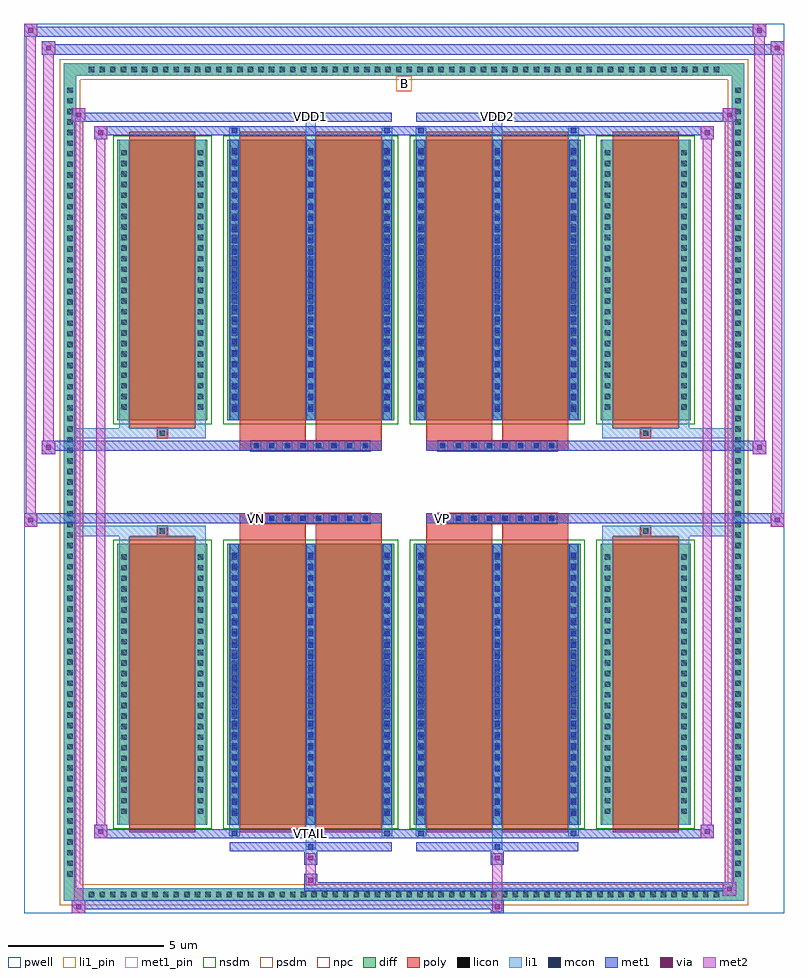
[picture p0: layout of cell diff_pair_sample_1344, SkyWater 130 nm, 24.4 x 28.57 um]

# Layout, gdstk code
import gdstk
lib = gdstk.Library(unit=1e-6, precision=5e-09)
def R(c, l, rs):  # rectangles x0, y0, x1, y1
    for r in rs: c.add(gdstk.rectangle(r[:2], r[2:], *l))
def A(c, l, x, y, w, h, nx, ny, dx, dy):  # array of equal rectangles
    R(c, l, [(x+i*dx, y+j*dy, x+i*dx+w, y+j*dy+h) for i in range(nx) for j in range(ny)])
def P(c, l, *ps):  # polygons
    for p in ps: c.add(gdstk.Polygon(p, *l))
pwell = (64, 44)
diff = (65, 20)
poly = (66, 20)
licon = (66, 44)
li1_pin = (67, 16)
li1 = (67, 20)
mcon = (67, 44)
met1_pin = (68, 16)
met1 = (68, 20)
via = (68, 44)
met2 = (69, 20)
nsdm = (93, 44)
psdm = (94, 20)
npc = (95, 20)

diff_pair_sample_1344 = lib.new_cell('diff_pair_sample_1344')
R(diff_pair_sample_1344, pwell, [(-12.2,-13.85,12.2,14.72), (-9.52,-12.04,-0.01,-0.8), (0.01,-12.04,9.52,-0.8), (-9.52,0.8,-0.01,12.04), (0.01,0.8,9.52,12.04)])
A(diff_pair_sample_1344, diff, -10.235, -13.45, 0.41, 0.41, 60, 2, 0.34, 26.49)
A(diff_pair_sample_1344, diff, -10.93, -12.785, 0.41, 0.41, 1, 75, 0, 0.34)
A(diff_pair_sample_1344, diff, 10.52, -12.785, 0.41, 0.41, 1, 75, 0, 0.34)
R(diff_pair_sample_1344, diff, [(-10.235,-13.45,10.235,-13.04), (-10.93,-12.785,-10.52,12.785), (10.52,-12.785,10.93,12.785), (-9.21,-10.995,-6.31,-1.985), (-5.67,-10.995,-0.32,-1.985), (0.32,-10.995,5.67,-1.985), (6.31,-10.995,9.21,-1.985), (-9.21,1.985,-6.31,10.995), (-5.67,1.985,-0.32,10.995), (0.32,1.985,5.67,10.995), (6.31,1.985,9.21,10.995), (-10.235,13.04,10.235,13.45)])
P(diff_pair_sample_1344, diff, [(10.93,13.45),(-10.93,13.45),(-10.93,-13.04),(-10.52,-13.04),(-10.52,13.04),(10.52,13.04),(10.52,-13.04),(-10.52,-13.04),(-10.93,-13.04),(-10.93,-13.45),(10.93,-13.45)])
A(diff_pair_sample_1344, poly, -4.91, -1.33, 0.33, 0.33, 8, 2, 0.5, 2.33)
A(diff_pair_sample_1344, poly, 1.08, -1.33, 0.33, 0.33, 8, 2, 0.5, 2.33)
R(diff_pair_sample_1344, poly, [(-8.82,-11.245,-6.7,-1.735), (-5.28,-11.245,-3.16,-1.735), (-2.83,-11.245,-0.71,-1.735), (0.71,-11.245,2.83,-1.735), (3.16,-11.245,5.28,-1.735), (6.7,-11.245,8.82,-1.735), (-7.925,-1.735,-7.595,-1.405), (-7.925,-1.735,-7.595,-1.405), (-5.28,-1.735,-3.16,-1.33), (-2.83,-1.735,-0.71,-1.33), (0.71,-1.735,2.83,-1.33), (3.16,-1.735,5.28,-1.33), (7.595,-1.735,7.925,-1.405), (7.595,-1.735,7.925,-1.405), (-5.28,-1.33,-0.71,-1), (0.71,-1.33,5.28,-1), (-5.28,1,-0.71,1.33), (0.71,1,5.28,1.33), (-5.28,1.33,-3.16,1.735), (-2.83,1.33,-0.71,1.735), (0.71,1.33,2.83,1.735), (3.16,1.33,5.28,1.735), (-7.925,1.405,-7.595,1.735), (-7.925,1.405,-7.595,1.735), (7.595,1.405,7.925,1.735), (7.595,1.405,7.925,1.735), (-8.82,1.735,-6.7,11.245), (-5.28,1.735,-3.16,11.245), (-2.83,1.735,-0.71,11.245), (0.71,1.735,2.83,11.245), (3.16,1.735,5.28,11.245), (6.7,1.735,8.82,11.245)])
A(diff_pair_sample_1344, licon, -10.115, -13.33, 0.17, 0.17, 60, 2, 0.34, 26.49)
A(diff_pair_sample_1344, licon, -10.81, -12.665, 0.17, 0.17, 1, 75, 0, 0.34)
A(diff_pair_sample_1344, licon, 10.64, -12.665, 0.17, 0.17, 1, 75, 0, 0.34)
A(diff_pair_sample_1344, licon, -9.07, -10.655, 0.17, 0.17, 1, 25, 0, 0.34)
A(diff_pair_sample_1344, licon, -6.62, -10.655, 0.17, 0.17, 1, 25, 0, 0.34)
A(diff_pair_sample_1344, licon, -5.53, -10.655, 0.17, 0.17, 3, 25, 2.45, 0.34)
A(diff_pair_sample_1344, licon, 0.46, -10.655, 0.17, 0.17, 3, 25, 2.45, 0.34)
A(diff_pair_sample_1344, licon, 6.45, -10.655, 0.17, 0.17, 1, 25, 0, 0.34)
A(diff_pair_sample_1344, licon, 8.9, -10.655, 0.17, 0.17, 1, 25, 0, 0.34)
A(diff_pair_sample_1344, licon, -4.83, -1.25, 0.17, 0.17, 8, 2, 0.5, 2.33)
A(diff_pair_sample_1344, licon, 1.16, -1.25, 0.17, 0.17, 8, 2, 0.5, 2.33)
A(diff_pair_sample_1344, licon, -9.07, 2.325, 0.17, 0.17, 1, 25, 0, 0.34)
A(diff_pair_sample_1344, licon, -6.62, 2.325, 0.17, 0.17, 1, 25, 0, 0.34)
A(diff_pair_sample_1344, licon, -5.53, 2.325, 0.17, 0.17, 3, 25, 2.45, 0.34)
A(diff_pair_sample_1344, licon, 0.46, 2.325, 0.17, 0.17, 3, 25, 2.45, 0.34)
A(diff_pair_sample_1344, licon, 6.45, 2.325, 0.17, 0.17, 1, 25, 0, 0.34)
A(diff_pair_sample_1344, licon, 8.9, 2.325, 0.17, 0.17, 1, 25, 0, 0.34)
R(diff_pair_sample_1344, licon, [(-7.845,-1.655,-7.675,-1.485), (7.675,-1.655,7.845,-1.485), (-7.845,1.485,-7.675,1.655), (7.675,1.485,7.845,1.655)])
R(diff_pair_sample_1344, li1_pin, [(-0.25,12.54,0.25,13.04)])
A(diff_pair_sample_1344, li1, -10.195, -13.41, 0.33, 0.33, 60, 2, 0.34, 26.49)
A(diff_pair_sample_1344, li1, -10.89, -12.745, 0.33, 0.33, 1, 75, 0, 0.34)
A(diff_pair_sample_1344, li1, 10.56, -12.745, 0.33, 0.33, 1, 75, 0, 0.34)
A(diff_pair_sample_1344, li1, -5.61, -10.995, 0.33, 9.01, 3, 2, 2.45, 12.98)
A(diff_pair_sample_1344, li1, 0.38, -10.995, 0.33, 9.01, 3, 2, 2.45, 12.98)
A(diff_pair_sample_1344, li1, -9.15, -10.735, 0.33, 0.33, 1, 25, 0, 0.34)
A(diff_pair_sample_1344, li1, -6.7, -10.735, 0.33, 0.33, 1, 25, 0, 0.34)
A(diff_pair_sample_1344, li1, -5.61, -10.735, 0.33, 0.33, 3, 25, 2.45, 0.34)
A(diff_pair_sample_1344, li1, 0.38, -10.735, 0.33, 0.33, 3, 25, 2.45, 0.34)
A(diff_pair_sample_1344, li1, 6.37, -10.735, 0.33, 0.33, 1, 25, 0, 0.34)
A(diff_pair_sample_1344, li1, 8.82, -10.735, 0.33, 0.33, 1, 25, 0, 0.34)
A(diff_pair_sample_1344, li1, -5.53, -10.715, 0.17, 0.17, 3, 24, 2.45, 0.36)
A(diff_pair_sample_1344, li1, -5.53, -10.715, 0.17, 8.45, 3, 2, 2.45, 12.98)
A(diff_pair_sample_1344, li1, 0.46, -10.715, 0.17, 0.17, 3, 24, 2.45, 0.36)
A(diff_pair_sample_1344, li1, 0.46, -10.715, 0.17, 8.45, 3, 2, 2.45, 12.98)
A(diff_pair_sample_1344, li1, -4.91, -1.33, 0.33, 0.33, 8, 2, 0.5, 2.33)
A(diff_pair_sample_1344, li1, 1.08, -1.33, 0.33, 0.33, 8, 2, 0.5, 2.33)
A(diff_pair_sample_1344, li1, -9.15, 2.245, 0.33, 0.33, 1, 25, 0, 0.34)
A(diff_pair_sample_1344, li1, -6.7, 2.245, 0.33, 0.33, 1, 25, 0, 0.34)
A(diff_pair_sample_1344, li1, -5.61, 2.245, 0.33, 0.33, 3, 25, 2.45, 0.34)
A(diff_pair_sample_1344, li1, 0.38, 2.245, 0.33, 0.33, 3, 25, 2.45, 0.34)
A(diff_pair_sample_1344, li1, 6.37, 2.245, 0.33, 0.33, 1, 25, 0, 0.34)
A(diff_pair_sample_1344, li1, 8.82, 2.245, 0.33, 0.33, 1, 25, 0, 0.34)
A(diff_pair_sample_1344, li1, -5.53, 2.265, 0.17, 0.17, 3, 24, 2.45, 0.36)
A(diff_pair_sample_1344, li1, 0.46, 2.265, 0.17, 0.17, 3, 24, 2.45, 0.36)
R(diff_pair_sample_1344, li1, [(-10.93,-13.45,-10.52,-13.04), (-10.93,-13.45,-10.52,-13.04), (-10.52,-13.45,10.52,-13.04), (10.52,-13.45,10.93,-13.04), (10.52,-13.45,10.93,-13.04), (-10.93,-13.04,-10.52,13.04), (10.52,-13.04,10.93,13.04), (-3.16,-11.8,-2.83,-10.995), (-3.08,-11.8,-2.91,-11.63), (2.83,-11.8,3.16,-10.995), (2.91,-11.8,3.08,-11.63), (-5.61,-11.37,-5.28,-10.995), (-5.53,-11.37,-5.36,-11.2), (-0.71,-11.37,-0.38,-10.995), (-0.63,-11.37,-0.46,-11.2), (0.38,-11.37,0.71,-10.995), (0.46,-11.37,0.63,-11.2), (5.28,-11.37,5.61,-10.995), (5.36,-11.37,5.53,-11.2), (-9.15,-10.995,-8.82,-1.985), (-6.7,-10.995,-6.37,-1.985), (6.37,-10.995,6.7,-1.985), (8.82,-10.995,9.15,-1.985), (-9.15,-1.985,-8.82,-1.405), (-6.7,-1.985,-6.37,-1.405), (6.37,-1.985,6.7,-1.405), (8.82,-1.985,9.15,-1.405), (-10.93,-1.735,-7.925,-1.405), (-9.15,-1.735,-7.925,-1.405), (-7.925,-1.735,-7.595,-1.405), (-7.595,-1.735,-6.37,-1.405), (6.37,-1.735,7.595,-1.405), (7.595,-1.735,7.925,-1.405), (7.595,-1.735,10.93,-1.405), (7.925,-1.735,9.15,-1.405), (-10.93,1.405,-7.925,1.735), (-9.15,1.405,-7.925,1.735), (-9.15,1.405,-8.82,1.985), (-7.925,1.405,-7.595,1.735), (-7.595,1.405,-6.37,1.735), (-6.7,1.405,-6.37,1.985), (6.37,1.405,7.595,1.735), (6.37,1.405,6.7,1.985), (7.595,1.405,7.925,1.735), (7.595,1.405,10.93,1.735), (7.925,1.405,9.15,1.735), (8.82,1.405,9.15,1.985), (-9.15,1.985,-8.82,10.995), (-6.7,1.985,-6.37,10.995), (6.37,1.985,6.7,10.995), (8.82,1.985,9.15,10.995), (-5.61,10.995,-5.28,11.37), (-3.16,10.995,-2.83,11.8), (-0.71,10.995,-0.38,11.37), (0.38,10.995,0.71,11.37), (2.83,10.995,3.16,11.8), (5.28,10.995,5.61,11.37), (-5.53,11.2,-5.36,11.37), (-0.63,11.2,-0.46,11.37), (0.46,11.2,0.63,11.37), (5.36,11.2,5.53,11.37), (-3.08,11.63,-2.91,11.8), (2.91,11.63,3.08,11.8), (-10.93,13.04,-10.52,13.45), (-10.93,13.04,-10.52,13.45), (-10.52,13.04,10.52,13.45), (10.52,13.04,10.93,13.45), (10.52,13.04,10.93,13.45)])
A(diff_pair_sample_1344, mcon, -5.53, -10.715, 0.17, 0.17, 3, 24, 2.45, 0.36)
A(diff_pair_sample_1344, mcon, 0.46, -10.715, 0.17, 0.17, 3, 24, 2.45, 0.36)
A(diff_pair_sample_1344, mcon, -4.83, -1.25, 0.17, 0.17, 8, 2, 0.5, 2.33)
A(diff_pair_sample_1344, mcon, 1.16, -1.25, 0.17, 0.17, 8, 2, 0.5, 2.33)
A(diff_pair_sample_1344, mcon, -5.53, 2.265, 0.17, 0.17, 3, 24, 2.45, 0.36)
A(diff_pair_sample_1344, mcon, 0.46, 2.265, 0.17, 0.17, 3, 24, 2.45, 0.36)
R(diff_pair_sample_1344, mcon, [(-3.08,-11.8,-2.91,-11.63), (2.91,-11.8,3.08,-11.63), (-5.53,-11.37,-5.36,-11.2), (-0.63,-11.37,-0.46,-11.2), (0.46,-11.37,0.63,-11.2), (5.36,-11.37,5.53,-11.2), (-5.53,11.2,-5.36,11.37), (-0.63,11.2,-0.46,11.37), (0.46,11.2,0.63,11.37), (5.36,11.2,5.53,11.37), (-3.08,11.63,-2.91,11.8), (2.91,11.63,3.08,11.8)])
R(diff_pair_sample_1344, met1_pin, [(-3.13,-11.41,-2.86,-11.14), (-4.88,-1.29,-4.61,-1.02), (1.11,-1.29,1.38,-1.02), (-3.13,11.59,-2.86,11.86), (2.86,11.59,3.13,11.86)])
A(diff_pair_sample_1344, met1, -5.59, -10.995, 0.29, 9.01, 3, 2, 2.45, 12.98)
A(diff_pair_sample_1344, met1, 0.4, -10.995, 0.29, 9.01, 3, 2, 2.45, 12.98)
A(diff_pair_sample_1344, met1, -5.59, -10.775, 0.29, 0.29, 3, 24, 2.45, 0.36)
A(diff_pair_sample_1344, met1, 0.4, -10.775, 0.29, 0.29, 3, 24, 2.45, 0.36)
A(diff_pair_sample_1344, met1, -4.89, -1.31, 0.29, 0.29, 8, 2, 0.5, 2.33)
A(diff_pair_sample_1344, met1, 1.1, -1.31, 0.29, 0.29, 8, 2, 0.5, 2.33)
A(diff_pair_sample_1344, met1, -5.59, 2.205, 0.29, 0.29, 3, 24, 2.45, 0.36)
A(diff_pair_sample_1344, met1, 0.4, 2.205, 0.29, 0.29, 3, 24, 2.45, 0.36)
R(diff_pair_sample_1344, met1, [(-10.66,-13.85,-10.23,-13.42), (2.78,-13.85,3.21,-13.42), (-10.66,-13.71,3.21,-13.42), (10.23,-13.28,10.66,-12.85), (-3.21,-13.14,10.66,-12.85), (-3.21,-13,-2.78,-12.57), (-3.21,-12.29,-2.78,-11.86), (2.78,-12.29,3.21,-11.86), (-5.59,-11.86,-0.4,-11.57), (-3.14,-11.86,-2.85,-11.57), (0.4,-11.86,5.59,-11.57), (2.85,-11.86,3.14,-11.57), (-9.95,-11.43,-9.52,-11), (-9.95,-11.43,-5.59,-11.14), (-5.59,-11.43,-5.3,-11.14), (-5.59,-11.43,-0.4,-11.14), (-0.69,-11.43,-0.4,-11.14), (-0.4,-11.43,0.4,-11.14), (0.4,-11.43,0.69,-11.14), (0.4,-11.43,5.59,-11.14), (5.3,-11.43,5.59,-11.14), (5.59,-11.43,9.95,-11.14), (9.52,-11.43,9.95,-11), (-12.2,-1.43,-11.77,-1), (11.77,-1.43,12.2,-1), (-12.2,-1.33,-0.71,-1), (-5.28,-1.33,-0.71,-1), (0.71,-1.33,5.28,-1), (0.71,-1.33,12.2,-1), (-11.63,0.9,-11.2,1.33), (11.2,0.9,11.63,1.33), (-11.63,1,-5.28,1.33), (-5.28,1,-0.71,1.33), (0.71,1,5.28,1.33), (5.28,1,11.63,1.33), (-9.95,11,-9.52,11.43), (9.52,11,9.95,11.43), (-9.95,11.14,-5.59,11.43), (-5.59,11.14,-5.3,11.43), (-5.59,11.14,-0.4,11.43), (-0.69,11.14,-0.4,11.43), (-0.4,11.14,0.4,11.43), (0.4,11.14,0.69,11.43), (0.4,11.14,5.59,11.43), (5.3,11.14,5.59,11.43), (5.59,11.14,9.95,11.43), (-10.66,11.57,-10.23,12), (-10.66,11.57,-5.59,11.86), (-5.59,11.57,-0.4,11.86), (-3.14,11.57,-2.85,11.86), (0.4,11.57,5.59,11.86), (2.85,11.57,3.14,11.86), (5.59,11.57,10.66,11.86), (10.23,11.57,10.66,12), (-11.63,13.72,-11.2,14.15), (-11.63,13.72,-9.52,14.05), (-9.52,13.72,9.52,14.05), (9.52,13.72,12.2,14.05), (11.77,13.72,12.2,14.15), (-12.2,14.29,-11.77,14.72), (-12.2,14.29,-9.52,14.62), (-9.52,14.29,9.52,14.62), (9.52,14.29,11.63,14.62), (11.2,14.29,11.63,14.72)])
R(diff_pair_sample_1344, via, [(-10.52,-13.71,-10.37,-13.56), (2.92,-13.71,3.07,-13.56), (10.37,-13.14,10.52,-12.99), (-3.07,-12.86,-2.92,-12.71), (-3.07,-12.15,-2.92,-12), (2.92,-12.15,3.07,-12), (-9.81,-11.29,-9.66,-11.14), (9.66,-11.29,9.81,-11.14), (-12.06,-1.29,-11.91,-1.14), (11.91,-1.29,12.06,-1.14), (-11.49,1.04,-11.34,1.19), (11.34,1.04,11.49,1.19), (-9.81,11.14,-9.66,11.29), (9.66,11.14,9.81,11.29), (-10.52,11.71,-10.37,11.86), (10.37,11.71,10.52,11.86), (-11.49,13.86,-11.34,14.01), (11.91,13.86,12.06,14.01), (-12.06,14.43,-11.91,14.58), (11.34,14.43,11.49,14.58)])
R(diff_pair_sample_1344, met2, [(-10.66,-13.85,-10.23,-13.42), (-10.59,-13.85,-10.3,12), (-10.3,-13.85,-10.23,-13.42), (-10.61,-13.8,-10.28,-13.47), (2.83,-13.8,3.16,-13.47), (2.83,-13.47,3.16,-12.24), (10.23,-13.28,10.66,-12.85), (10.3,-13.28,10.59,12), (10.59,-13.28,10.66,-12.85), (10.28,-13.23,10.61,-12.9), (-3.16,-12.95,-2.83,-12.62), (-3.16,-12.62,-2.83,-12.24), (-3.16,-12.24,-2.83,-11.91), (2.83,-12.24,3.16,-11.91), (-9.95,-11.43,-9.52,-11), (-9.88,-11.43,-9.59,11.43), (-9.59,-11.43,-9.52,-11), (9.52,-11.43,9.95,-11), (9.59,-11.43,9.88,11.43), (9.88,-11.43,9.95,-11), (-9.9,-11.38,-9.57,-11.05), (9.57,-11.38,9.9,-11.05), (-12.2,-1.43,-11.77,-1), (-12.15,-1.43,-11.82,14.72), (-11.82,-1.43,-11.77,-1), (11.77,-1.43,12.2,-1), (11.82,-1.43,12.15,14.15), (12.15,-1.43,12.2,-1), (-12.15,-1.38,-11.82,-1.05), (11.82,-1.38,12.15,-1.05), (-11.63,0.9,-11.2,1.33), (-11.58,0.9,-11.25,14.15), (-11.25,0.9,-11.2,1.33), (11.2,0.9,11.63,1.33), (11.25,0.9,11.58,14.72), (11.58,0.9,11.63,1.33), (-11.58,0.95,-11.25,1.28), (11.25,0.95,11.58,1.28), (-9.95,11,-9.52,11.43), (-9.59,11,-9.52,11.43), (9.52,11,9.95,11.43), (9.88,11,9.95,11.43), (-9.9,11.05,-9.57,11.38), (9.57,11.05,9.9,11.38), (-10.66,11.57,-10.23,12), (-10.3,11.57,-10.23,12), (10.23,11.57,10.66,12), (10.59,11.57,10.66,12), (-10.61,11.62,-10.28,11.95), (10.28,11.62,10.61,11.95), (-11.63,13.72,-11.2,14.15), (-11.25,13.72,-11.2,14.15), (11.77,13.72,12.2,14.15), (12.15,13.72,12.2,14.15), (-11.58,13.77,-11.25,14.1), (11.82,13.77,12.15,14.1), (-12.2,14.29,-11.77,14.72), (-11.82,14.29,-11.77,14.72), (11.2,14.29,11.63,14.72), (11.58,14.29,11.63,14.72), (-12.15,14.34,-11.82,14.67), (11.25,14.34,11.58,14.67)])
R(diff_pair_sample_1344, nsdm, [(-9.34,-11.125,-6.18,-1.855), (-5.8,-11.125,-0.19,-1.855), (0.19,-11.125,5.8,-1.855), (6.18,-11.125,9.34,-1.855), (-9.34,1.855,-6.18,11.125), (-5.8,1.855,-0.19,11.125), (0.19,1.855,5.8,11.125), (6.18,1.855,9.34,11.125)])
P(diff_pair_sample_1344, psdm, [(11.06,13.58),(-11.06,13.58),(-11.06,-12.91),(-10.39,-12.91),(-10.39,12.91),(10.39,12.91),(10.39,-12.91),(-10.39,-12.91),(-11.06,-12.91),(-11.06,-13.58),(11.06,-13.58)])
A(diff_pair_sample_1344, npc, -4.93, -1.35, 0.37, 0.37, 8, 2, 0.5, 2.33)
A(diff_pair_sample_1344, npc, 1.06, -1.35, 0.37, 0.37, 8, 2, 0.5, 2.33)
R(diff_pair_sample_1344, npc, [(-7.945,-1.755,-7.575,-1.385), (7.575,-1.755,7.945,-1.385), (-4.93,-1.35,-4.06,-0.98), (-4.93,-1.35,-4.06,-0.98), (-4.43,-1.35,-3.56,-0.98), (-4.43,-1.35,-3.56,-0.98), (-3.93,-1.35,-3.06,-0.98), (-3.93,-1.35,-3.06,-0.98), (-3.43,-1.35,-2.56,-0.98), (-3.43,-1.35,-2.56,-0.98), (-2.93,-1.35,-2.06,-0.98), (-2.93,-1.35,-2.06,-0.98), (-2.43,-1.35,-1.56,-0.98), (-2.43,-1.35,-1.56,-0.98), (-1.93,-1.35,-1.06,-0.98), (-1.93,-1.35,-1.06,-0.98), (1.06,-1.35,1.93,-0.98), (1.06,-1.35,1.93,-0.98), (1.56,-1.35,2.43,-0.98), (1.56,-1.35,2.43,-0.98), (2.06,-1.35,2.93,-0.98), (2.06,-1.35,2.93,-0.98), (2.56,-1.35,3.43,-0.98), (2.56,-1.35,3.43,-0.98), (3.06,-1.35,3.93,-0.98), (3.06,-1.35,3.93,-0.98), (3.56,-1.35,4.43,-0.98), (3.56,-1.35,4.43,-0.98), (4.06,-1.35,4.93,-0.98), (4.06,-1.35,4.93,-0.98), (-4.93,0.98,-4.06,1.35), (-4.93,0.98,-4.06,1.35), (-4.43,0.98,-3.56,1.35), (-4.43,0.98,-3.56,1.35), (-3.93,0.98,-3.06,1.35), (-3.93,0.98,-3.06,1.35), (-3.43,0.98,-2.56,1.35), (-3.43,0.98,-2.56,1.35), (-2.93,0.98,-2.06,1.35), (-2.93,0.98,-2.06,1.35), (-2.43,0.98,-1.56,1.35), (-2.43,0.98,-1.56,1.35), (-1.93,0.98,-1.06,1.35), (-1.93,0.98,-1.06,1.35), (1.06,0.98,1.93,1.35), (1.06,0.98,1.93,1.35), (1.56,0.98,2.43,1.35), (1.56,0.98,2.43,1.35), (2.06,0.98,2.93,1.35), (2.06,0.98,2.93,1.35), (2.56,0.98,3.43,1.35), (2.56,0.98,3.43,1.35), (3.06,0.98,3.93,1.35), (3.06,0.98,3.93,1.35), (3.56,0.98,4.43,1.35), (3.56,0.98,4.43,1.35), (4.06,0.98,4.93,1.35), (4.06,0.98,4.93,1.35), (-7.945,1.385,-7.575,1.755), (7.575,1.385,7.945,1.755)])
diff_pair_sample_1344.add(gdstk.Label('VTAIL', (-2.995,-11.275), layer=68, texttype=5))
diff_pair_sample_1344.add(gdstk.Label('VN', (-4.745,-1.155), layer=68, texttype=5))
diff_pair_sample_1344.add(gdstk.Label('VP', (1.245,-1.155), layer=68, texttype=5))
diff_pair_sample_1344.add(gdstk.Label('B', (0,12.79), layer=67, texttype=5))
diff_pair_sample_1344.add(gdstk.Label('VDD2', (2.995,11.725), layer=68, texttype=5))
diff_pair_sample_1344.add(gdstk.Label('VDD1', (-2.995,11.725), layer=68, texttype=5))

lib.write_gds('diff_pair_sample_1344.gds')
